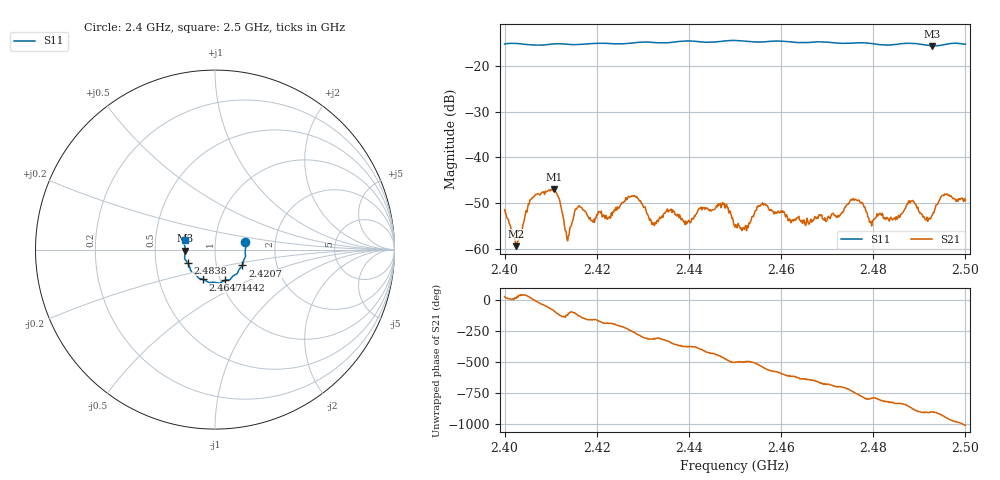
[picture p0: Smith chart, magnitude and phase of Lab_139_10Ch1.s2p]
# Hz S RI R 50
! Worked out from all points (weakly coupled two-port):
!   601 points, 2.4 GHz to 2.5 GHz, reference 50 ohm
!   highest |S21| = -46.95 dB at 2.4107 GHz (marker M1); lowest = -59.4 dB at 2.4025 GHz (marker M2)
!   lowest |S11| = -15.6 dB at 2.4928 GHz (marker M3), VSWR 1.40, Z = 35.8 - j0.449 ohm
!   |S11| at or under -10 dB: start of sweep to end of sweep
!   S12 and S22 are empty: the file has one direction only
!   S11 on the Smith chart (normalised r, x): 2.4 GHz: 1.40, +0.12; 2.4207 GHz: 1.33, -0.24; 2.4442 GHz: 1.05, -0.37; 2.4647 GHz: 0.83, -0.29; 2.4838 GHz: 0.73, -0.11; 2.5 GHz: 0.71, +0.07
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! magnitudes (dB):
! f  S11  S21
! 2.4 GHz  -15.2  -51.5
! 2.4025 GHz  -15.1  -59.4
! 2.406 GHz  -15.4  -48.8
! 2.4107 GHz  -15.2  -46.9
! 2.4135 GHz  -15.3  -57.6
! 2.4167 GHz  -15.3  -51.0
! 2.4207 GHz  -15.1  -51.9
! 2.4282 GHz  -15.0  -48.4
! 2.4333 GHz  -15.0  -54.1
! 2.4442 GHz  -14.8  -51.3
! 2.4477 GHz  -14.6  -50.1
! 2.45 GHz  -14.5  -55.3
! 2.4562 GHz  -14.8  -50.5
! 2.4647 GHz  -14.9  -54.4
! 2.4667 GHz  -14.8  -54.2
! 2.4757 GHz  -15.0  -49.0
! 2.4833 GHz  -15.5  -53.6
! 2.4838 GHz  -15.4  -53.1
! 2.4882 GHz  -15.1  -49.6
! 2.4928 GHz  -15.6  -52.6
! 2.4953 GHz  -15.4  -48.4
! 2.5 GHz  -15.3  -49.4
